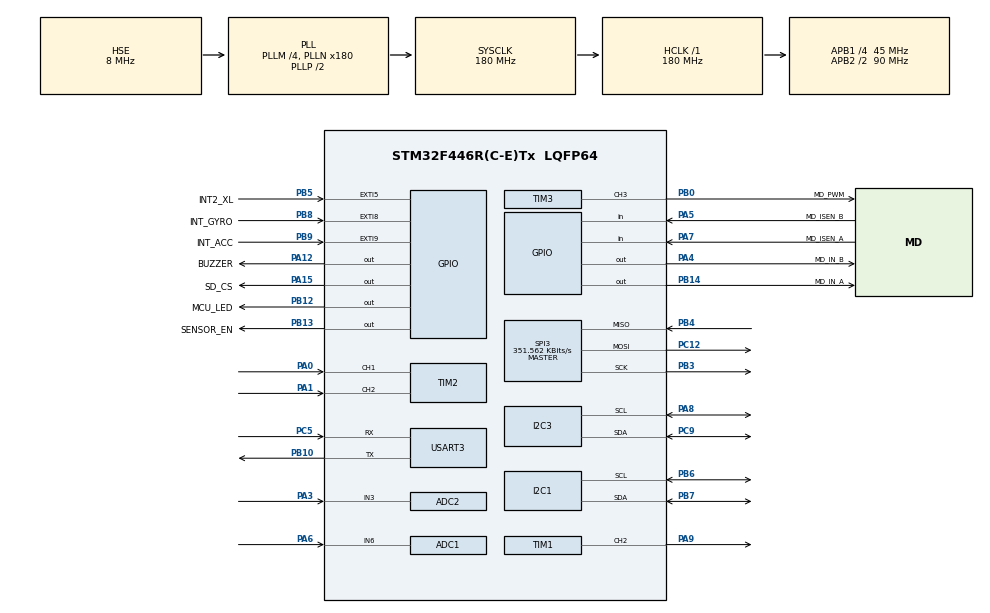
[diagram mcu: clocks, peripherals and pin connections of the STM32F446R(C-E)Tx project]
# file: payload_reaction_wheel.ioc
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ADC1.Channel-0\#ChannelRegularConversion=ADC_CHANNEL_6
ADC1.ContinuousConvMode=DISABLE
ADC1.DiscontinuousConvMode=DISABLE
ADC1.InjNumberOfConversion=0
ADC1.NbrOfConversion=1
ADC1.NbrOfConversionFlag=1
ADC1.Rank-0\#ChannelRegularConversion=1
ADC1.SamplingTime-0\#ChannelRegularConversion=ADC_SAMPLETIME_480CYCLES
ADC1.ScanConvMode=DISABLE
ADC1.master=1
ADC2.Channel-0\#ChannelRegularConversion=ADC_CHANNEL_3
ADC2.ContinuousConvMode=DISABLE
ADC2.NbrOfConversion=1
ADC2.NbrOfConversionFlag=1
ADC2.Rank-0\#ChannelRegularConversion=1
ADC2.Resolution=ADC_RESOLUTION_10B
ADC2.SamplingTime-0\#ChannelRegularConversion=ADC_SAMPLETIME_56CYCLES
ADC2.ScanConvMode=DISABLE
Dma.Request0=USART3_TX
Dma.USART3_TX.0.Direction=DMA_MEMORY_TO_PERIPH
Dma.USART3_TX.0.FIFOMode=DMA_FIFOMODE_DISABLE
Dma.USART3_TX.0.Instance=DMA1_Stream3
Dma.USART3_TX.0.MemDataAlignment=DMA_MDATAALIGN_BYTE
Dma.USART3_TX.0.MemInc=DMA_MINC_ENABLE
Dma.USART3_TX.0.Mode=DMA_NORMAL
Dma.USART3_TX.0.PeriphDataAlignment=DMA_PDATAALIGN_BYTE
Dma.USART3_TX.0.PeriphInc=DMA_PINC_DISABLE
Dma.USART3_TX.0.Priority=DMA_PRIORITY_LOW
Mcu.Family=STM32F4
Mcu.Name=STM32F446R(C-E)Tx
Mcu.Package=LQFP64
Mcu.UserConstants=TTL_HNDLR,huart3;IMU_I2C_HNDLR,hi2c1
NVIC.DMA1_Stream3_IRQn=true\:0\:0\:false\:false\:true\:false\:true\:true
NVIC.EXTI9_5_IRQn=true\:0\:0\:false\:false\:true\:true\:true\:true
NVIC.PriorityGroup=NVIC_PRIORITYGROUP_4
NVIC.TIM4_IRQn=true\:0\:0\:false\:false\:true\:true\:true\:true
NVIC.USART3_IRQn=true\:0\:0\:false\:false\:true\:true\:true\:true
PA0-WKUP.Signal=S_TIM2_CH1_ETR
PA1.Signal=S_TIM2_CH2
PA12.GPIO_Label=BUZZER
PA12.Signal=GPIO_Output
PA13.Mode=Serial_Wire
PA13.Signal=SYS_JTMS-SWDIO
PA14.Mode=Serial_Wire
PA14.Signal=SYS_JTCK-SWCLK
PA15.GPIO_Label=SD_CS
PA15.Signal=GPIO_Output
PA3.Signal=ADCx_IN3
PA4.GPIO_Label=MD_IN_B
PA4.Signal=GPIO_Output
PA5.GPIO_Label=MD_ISEN_B
PA5.Signal=GPIO_Input
PA6.Signal=ADCx_IN6
PA7.GPIO_Label=MD_ISEN_A
PA7.Signal=GPIO_Input
PA8.Mode=I2C
PA8.Signal=I2C3_SCL
PA9.Signal=S_TIM1_CH2
PB0.GPIO_Label=MD_PWM
PB0.Signal=S_TIM3_CH3
PB10.Mode=Asynchronous
PB10.Signal=USART3_TX
PB12.GPIO_Label=MCU_LED
PB12.Signal=GPIO_Output
PB13.GPIO_Label=SENSOR_EN
PB13.Signal=GPIO_Output
PB14.GPIO_Label=MD_IN_A
PB14.Signal=GPIO_Output
PB3.Mode=Full_Duplex_Master
PB3.Signal=SPI3_SCK
PB4.Mode=Full_Duplex_Master
PB4.Signal=SPI3_MISO
PB5.GPIO_Label=INT2_XL
PB5.Signal=GPXTI5
PB6.Mode=I2C
PB6.Signal=I2C1_SCL
PB7.Mode=I2C
PB7.Signal=I2C1_SDA
PB8.GPIO_Label=INT_GYRO
PB8.Signal=GPXTI8
PB9.GPIO_Label=INT_ACC
PB9.Signal=GPXTI9
PC12.Mode=Full_Duplex_Master
PC12.Signal=SPI3_MOSI
PC14-OSC32_IN.Mode=LSE-External-Oscillator
PC14-OSC32_IN.Signal=RCC_OSC32_IN
PC15-OSC32_OUT.Mode=LSE-External-Oscillator
PC15-OSC32_OUT.Signal=RCC_OSC32_OUT
PC5.Mode=Asynchronous
PC5.Signal=USART3_RX
PC9.Mode=I2C
PC9.Signal=I2C3_SDA
PH0-OSC_IN.Mode=HSE-External-Oscillator
PH0-OSC_IN.Signal=RCC_OSC_IN
PH1-OSC_OUT.Mode=HSE-External-Oscillator
PH1-OSC_OUT.Signal=RCC_OSC_OUT
ProjectManager.HeapSize=0x200
ProjectManager.StackSize=0x400
ProjectManager.TargetToolchain=STM32CubeIDE
RCC.AHBFreq_Value=180000000
RCC.APB1CLKDivider=RCC_HCLK_DIV4
RCC.APB1Freq_Value=45000000
RCC.APB1TimFreq_Value=90000000
RCC.APB2CLKDivider=RCC_HCLK_DIV2
RCC.APB2Freq_Value=90000000
RCC.APB2TimFreq_Value=180000000
RCC.CortexFreq_Value=180000000
RCC.HCLKFreq_Value=180000000
RCC.HSE_VALUE=8000000
RCC.PLLM=4
RCC.PLLN=180
RCC.PLLSourceVirtual=RCC_PLLSOURCE_HSE
RCC.SYSCLKFreq_VALUE=180000000
RCC.SYSCLKSource=RCC_SYSCLKSOURCE_PLLCLK
RCC.USBFreq_Value=180000000
RCC.VCOOutputFreq_Value=360000000
SH.ADCx_IN3.0=ADC2_IN3,IN3
SH.ADCx_IN6.0=ADC1_IN6,IN6
SH.S_TIM1_CH2.0=TIM1_CH2,PWM Generation2 CH2
SH.S_TIM2_CH1_ETR.0=TIM2_CH1,Encoder_Interface
SH.S_TIM2_CH2.0=TIM2_CH2,Encoder_Interface
SH.S_TIM3_CH3.0=TIM3_CH3,PWM Generation3 CH3
SPI3.BaudRatePrescaler=SPI_BAUDRATEPRESCALER_128
SPI3.CalculateBaudRate=351.562 KBits/s
SPI3.Direction=SPI_DIRECTION_2LINES
SPI3.Mode=SPI_MODE_MASTER
SPI3.VirtualType=VM_MASTER
TIM1.Channel-PWM\ Generation2\ CH2=TIM_CHANNEL_2
TIM1.Period=99
TIM1.Prescaler=179
TIM2.IC1Filter=10
TIM2.IC2Filter=10
TIM3.Channel-PWM\ Generation3\ CH3=TIM_CHANNEL_3
TIM3.Period=255
TIM3.Prescaler=17
TIM4.Period=999
TIM4.Prescaler=8999
USART3.VirtualMode=VM_ASYNC
VP_FATFS_VS_Generic.Mode=User_defined
VP_TIM1_VS_ClockSourceINT.Mode=Internal
VP_TIM4_VS_ClockSourceINT.Mode=Internal
board=custom

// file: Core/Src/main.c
/* USER CODE BEGIN Header */
/**
  ******************************************************************************
  * @file           : main.c
  * @brief          : Main program body
  ******************************************************************************
  * @attention
  *
  * Copyright (c) 2025 STMicroelectronics.
  * All rights reserved.
  *
  * This software is licensed under terms that can be found in the LICENSE file
  * in the root directory of this software component.
  * If no LICENSE file comes with this software, it is provided AS-IS.
  *
  ******************************************************************************
  */
/* USER CODE END Header */
#include "main.h"
#include "adc.h"
#include "dma.h"
#include "fatfs.h"
#include "i2c.h"
#include "spi.h"
#include "tim.h"
#include "usart.h"
#include "gpio.h"

/* USER CODE BEGIN Includes */
#include "bmi088.h"
#include "motor_servo.h"
#include "data_logger.h"
/* USER CODE END Includes */

/* USER CODE BEGIN PD */
#define ACC_IRQ
/* USER CODE END PD */

/* USER CODE BEGIN PV */
bmi088_struct_t bmi_imu_s;

uint8_t str[200];
uint8_t is_500ms = 0;

extern float error;
extern uint32_t pulse;

uint32_t starting_time = 0;
uint8_t is_started = 0;
/* USER CODE END PV */

void SystemClock_Config(void);
/* USER CODE BEGIN PFP */
static void reg_3v3_on(void);
static void reg_3v3_off(void);
void bmi_callback(bmi088_struct_t *BMI);
void serial_println(char* str, UART_HandleTypeDef *huart_disp);
static uint8_t bmi_begin(void);
void reg_3v3_on();
void reg_3v3_off();
/* USER CODE END PFP */

int main(void)
{

  /* MCU Configuration--------------------------------------------------------*/

  /* Reset of all peripherals, Initializes the Flash interface and the Systick. */
  HAL_Init();

  /* Configure the system clock */
  SystemClock_Config();

  /* Initialize all configured peripherals */
  MX_GPIO_Init();
  MX_DMA_Init();
  MX_I2C1_Init();
  MX_I2C3_Init();
  MX_SPI3_Init();
  MX_USART3_UART_Init();
  MX_TIM1_Init();
  MX_ADC1_Init();
  MX_ADC2_Init();
  MX_TIM2_Init();
  MX_TIM4_Init();
  MX_TIM3_Init();
  MX_FATFS_Init();
  /* USER CODE BEGIN 2 */
  reg_3v3_off();
  reg_3v3_on();
  	uint8_t bmi_ret = bmi_begin();
    if(bmi_ret)
    {
  	  serial_println("bmi fail", &TTL_HNDLR);
        if((bmi_ret & 0x01) == 0x01)
        {
          sprintf((char*)str, "error in accel");
          serial_println((char*) str, &TTL_HNDLR);
        }
        if((bmi_ret & 0x02) == 0x02)
        {
          sprintf((char*)str, "error in gyro");
          serial_println((char*) str, &TTL_HNDLR);
        }
    }

    Motor_Servo_Init(&htim3);
	bmi088_config(&bmi_imu_s);
	get_offset(&bmi_imu_s);

	HAL_TIM_Base_Start_IT(&htim4);

	data_logger_init();
	HAL_GPIO_WritePin(BUZZER_GPIO_Port, BUZZER_Pin, GPIO_PIN_SET);
	HAL_Delay(500);
	HAL_GPIO_WritePin(BUZZER_GPIO_Port, BUZZER_Pin, GPIO_PIN_RESET);

	 // Hedef açı
  /* USER CODE END 2 */

  /* Infinite loop */
  while (1)
  {

    /* USER CODE BEGIN 3 */
/*
	  HAL_ADC_Start(&VLT_ADC_HNDLR);
	  HAL_ADC_Start(&AMP_ADC_HNDLR);

	  HAL_ADC_PollForConversion(&VLT_ADC_HNDLR, 100);
	  adc1 = HAL_ADC_GetValue(&VLT_ADC_HNDLR);
	  float adc1_f = (float)adc1 - 25.0;
	  adc1_f = (adc1_f > 0) * adc1_f;
	  adc1_f	= adc1_f * 5.31;

	  HAL_ADC_PollForConversion(&AMP_ADC_HNDLR, 100);
	  adc2 = HAL_ADC_GetValue(&AMP_ADC_HNDLR);
	  float adc2_f = (float)adc2 * 0.015;

	  sprintf((char*)str, "adc1= %lu\n\r", adc1);
	  HAL_UART_Transmit(&huart3, str, strlen((char*)str), 50);

	  sprintf((char*)str, "adc2= %.2f\n\r", adc2_f);
	  HAL_UART_Transmit(&huart3, str, strlen((char*)str), 50);

	  uint8_t chip_id = bmi088_getGyroChipId();
	  sprintf((char*)str, "chip id =  %x\n\r", chip_id);
	  HAL_UART_Transmit(&huart3, str, strlen((char*)str), 50);
*/

//	  sprintf((char*)str, "encoder =  %lu\n\r", (TIM2->CNT)>>2);
//	  HAL_UART_Transmit(&TTL_HNDLR, str, strlen((char*)str), 50);
	  if(is_started == 0 && (bmi_imu_s.datas.acc_x > 3000))
	  {
		  is_started = 1;
		  bmi_imu_s.datas.gyro_x = 0;
	  }
	  bmi088_update(&bmi_imu_s);

	  if(is_500ms)
	  {
		  log_datas(HAL_GetTick(), bmi_imu_s.datas.gyro_x_angle, pulse, error);
		  sprintf((char*)str, "angle_ x:%f pwm:%lu error:%f\n\r", bmi_imu_s.datas.gyro_x_angle, pulse, error);
		  serial_println((char*)str, &TTL_HNDLR);
		  is_500ms = 0;
	  }
  }
  /* USER CODE END 3 */
}

void SystemClock_Config(void)
{
  RCC_OscInitTypeDef RCC_OscInitStruct = {0};
  RCC_ClkInitTypeDef RCC_ClkInitStruct = {0};

  /** Configure the main internal regulator output voltage
  */
  __HAL_RCC_PWR_CLK_ENABLE();
  __HAL_PWR_VOLTAGESCALING_CONFIG(PWR_REGULATOR_VOLTAGE_SCALE1);

  /** Initializes the RCC Oscillators according to the specified parameters
  * in the RCC_OscInitTypeDef structure.
  */
  RCC_OscInitStruct.OscillatorType = RCC_OSCILLATORTYPE_HSE;
  RCC_OscInitStruct.HSEState = RCC_HSE_ON;
  RCC_OscInitStruct.PLL.PLLState = RCC_PLL_ON;
  RCC_OscInitStruct.PLL.PLLSource = RCC_PLLSOURCE_HSE;
  RCC_OscInitStruct.PLL.PLLM = 4;
  RCC_OscInitStruct.PLL.PLLN = 180;
  RCC_OscInitStruct.PLL.PLLP = RCC_PLLP_DIV2;
  RCC_OscInitStruct.PLL.PLLQ = 2;
  RCC_OscInitStruct.PLL.PLLR = 2;
  if (HAL_RCC_OscConfig(&RCC_OscInitStruct) != HAL_OK)
  {
    Error_Handler();
  }

  /** Activate the Over-Drive mode
  */
  if (HAL_PWREx_EnableOverDrive() != HAL_OK)
  {
    Error_Handler();
  }

  /** Initializes the CPU, AHB and APB buses clocks
  */
  RCC_ClkInitStruct.ClockType = RCC_CLOCKTYPE_HCLK|RCC_CLOCKTYPE_SYSCLK
                              |RCC_CLOCKTYPE_PCLK1|RCC_CLOCKTYPE_PCLK2;
  RCC_ClkInitStruct.SYSCLKSource = RCC_SYSCLKSOURCE_PLLCLK;
  RCC_ClkInitStruct.AHBCLKDivider = RCC_SYSCLK_DIV1;
  RCC_ClkInitStruct.APB1CLKDivider = RCC_HCLK_DIV4;
  RCC_ClkInitStruct.APB2CLKDivider = RCC_HCLK_DIV2;

  if (HAL_RCC_ClockConfig(&RCC_ClkInitStruct, FLASH_LATENCY_5) != HAL_OK)
  {
    Error_Handler();
  }
}

/* USER CODE BEGIN 4 */
uint8_t bmi_begin(void)
{
	//Acc config
	bmi_imu_s.device_config.acc_bandwith = ACC_BWP_OSR4;
	bmi_imu_s.device_config.acc_outputDateRate = ACC_ODR_200;
	bmi_imu_s.device_config.acc_powerMode = ACC_PWR_SAVE_ACTIVE;
	bmi_imu_s.device_config.acc_range = ACC_RANGE_24G;

	// Gyro config
	bmi_imu_s.device_config.gyro_bandWidth = GYRO_BW_116;
	bmi_imu_s.device_config.gyro_range = GYRO_RANGE_2000;
	bmi_imu_s.device_config.gyro_powerMode = GYRO_LPM_NORMAL;

	//Device config
	bmi_imu_s.device_config.acc_IRQ = EXTI9_5_IRQn;
	bmi_imu_s.device_config.gyro_IRQ = EXTI9_5_IRQn;
	bmi_imu_s.device_config.BMI_I2c = &IMU_I2C_HNDLR;
	bmi_imu_s.device_config.offsets = NULL;	//Offset datas stored in backup sram for saving them unwanted reset.
	bmi_imu_s.IMU_callback = bmi_callback;
	return	bmi088_init(&bmi_imu_s);
}
void bmi_callback(bmi088_struct_t *BMI)
{
    if(is_started == 1)
    {
    	float current_angle = bmi_imu_s.datas.gyro_x_angle;
    	Motor_Servo_Control(current_angle, TARGET_ANGLE);
    }

}

//Pcb 3.3 v regulator on function.
void reg_3v3_on()
{
	HAL_GPIO_WritePin(SENSOR_EN_GPIO_Port, SENSOR_EN_Pin, GPIO_PIN_SET);
	HAL_Delay(50);
}

//Pcb 3.3 v regulator off function.
void reg_3v3_off()
{
	HAL_GPIO_WritePin(SENSOR_EN_GPIO_Port, SENSOR_EN_Pin, GPIO_PIN_RESET);
	HAL_Delay(50);
}

void HAL_GPIO_EXTI_Callback(uint16_t GPIO_Pin)
{
	if(GPIO_Pin == INT_ACC_Pin)
	{
		bmi088_set_accel_INT(&bmi_imu_s);
	}
	if(GPIO_Pin == INT_GYRO_Pin)
	{
		bmi088_set_gyro_INT(&bmi_imu_s);
	}
}

void serial_println(char* str, UART_HandleTypeDef *huart_disp)
{
	HAL_UART_Transmit_DMA(huart_disp, (uint8_t*)str, strlen(str));
	HAL_UART_Transmit_DMA(huart_disp, (uint8_t*)"\r\n", 2);
}

void HAL_TIM_PeriodElapsedCallback(TIM_HandleTypeDef *htim)
{
	if(htim->Instance == TIM4)
	{
		is_500ms = 1;
	}
}
/* USER CODE END 4 */

void Error_Handler(void)
{
  __disable_irq();
  while (1)
  {
  }
}
